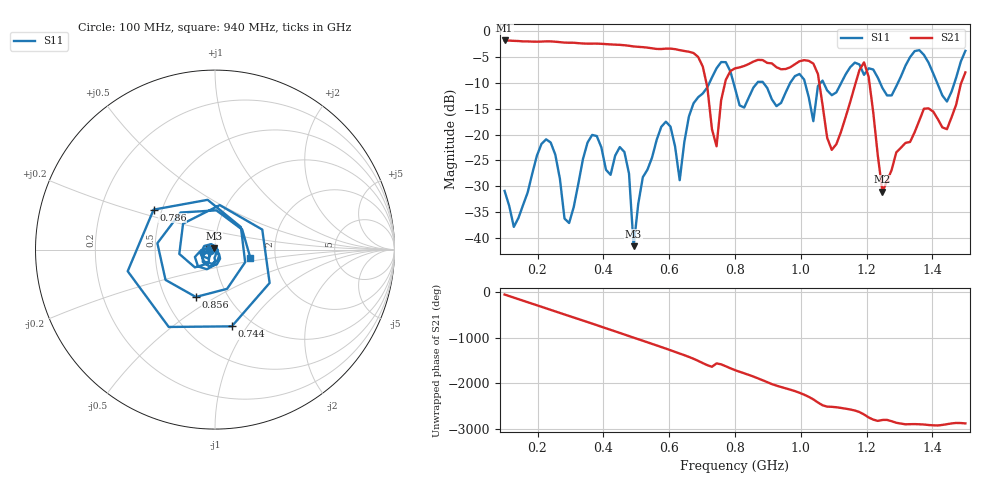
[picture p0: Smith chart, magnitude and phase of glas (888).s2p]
! NanoVNA-App
! Date: 2025-09-25 16:02:23
! Start: 100MHz Stop: 1,5GHz Points: 101
! S-Parameter data: F S11 S21 S12 S22
# Hz S RI R 50
!  Frequency  S11_Real  S11_Imag  S21_Real  S21_Imag  S12_Real  S12_Imag  S22_Real  S22_Imag
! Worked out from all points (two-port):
!   101 points, 100 MHz to 1.5 GHz, reference 50 ohm
!   highest |S21| = -1.80 dB at 100 MHz (marker M1); lowest = -31.0 dB at 1.248 GHz (marker M2)
!   |S21| within 3 dB of the highest: start of sweep to 684.5 MHz
!   lowest |S11| = -41.6 dB at 492 MHz (marker M3), VSWR 1.02, Z = 49.5 + j0.626 ohm
!   |S11| at or under -10 dB: start of sweep to 722.4 MHz; 795.5 MHz to 867.6 MHz (72.06 MHz wide, 8.67 % of centre); 886.2 MHz to 967.8 MHz (81.58 MHz wide, 8.8 % of centre) (the widest 3 of 7)
!   S12 and S22 are empty: the file has one direction only
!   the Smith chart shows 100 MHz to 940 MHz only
!   S11 on the Smith chart (normalised r, x): 100 MHz: 0.94, -0.01; 744 MHz: 0.81, -0.85; 786 MHz: 0.45, +0.24; 856 MHz: 0.71, -0.41; 940 MHz: 1.48, -0.14
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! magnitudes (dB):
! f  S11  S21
! 100 MHz  -30.9  -1.8
! 128 MHz  -37.9  -1.9
! 226 MHz  -20.9  -2.0
! 296 MHz  -37.1  -2.2
! 338 MHz  -24.8  -2.4
! 464 MHz  -23.4  -2.7
! 492 MHz  -41.6  -3.0
! 576 MHz  -18.5  -3.5
! 632 MHz  -28.8  -3.7
! 702 MHz  -12.1  -6.8
! 744 MHz  -7.2  -22.3
! 786 MHz  -7.8  -7.7
! 800 MHz  -11.0  -7.2
! 856 MHz  -10.9  -5.9
! 940 MHz  -13.9  -7.4
! 1.038 GHz  -17.4  -6.3
! 1.094 GHz  -12.4  -23.0
! 1.192 GHz  -8.5  -6.0
! 1.248 GHz  -11.0  -31.0
! 1.276 GHz  -12.4  -26.8
! 1.444 GHz  -13.6  -19.0
! 1.5 GHz  -3.8  -8.0
